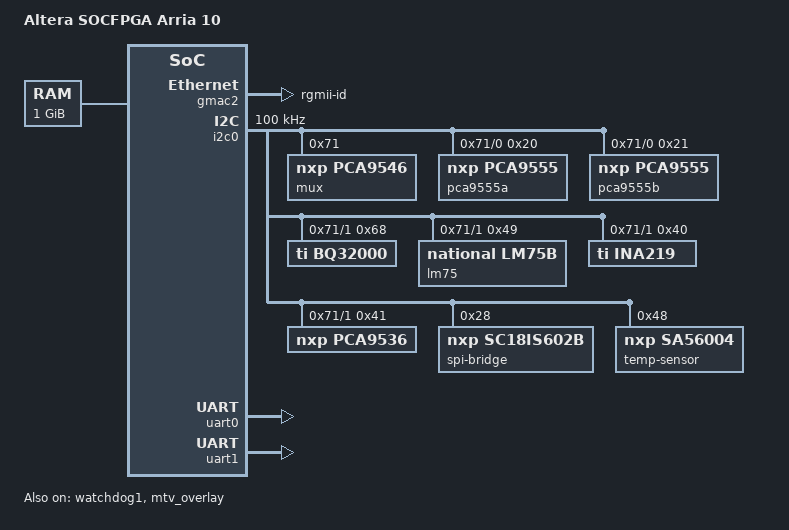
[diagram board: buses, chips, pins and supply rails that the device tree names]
// SPDX-License-Identifier: GPL-2.0+
/*
 * Copyright (C) 2015 Altera Corporation <www.altera.com>
 */
#include "socfpga_arria10.dtsi"

/ {
	model = "Altera SOCFPGA Arria 10";
	compatible = "altr,socfpga-arria10-socdk", "altr,socfpga-arria10", "altr,socfpga";

	aliases {
		ethernet0 = &gmac2;
		serial0 = &uart1;
	};

	chosen {
		bootargs = "earlyprintk";
		stdout-path = "serial0:115200n8";
	};

	memory@0 {
		name = "memory";
		device_type = "memory";
		reg = <0x0 0x40000000>; /* 1GB */
	};

	/*с этой версией dtsi ьщдуль благополучно загрузился на старте*/
	/* Резервируем блок строго непрерывной памяти под двойной буфер */
	
	reserved-memory {
		#address-cells = <1>;
		#size-cells = <1>;
		ranges;

		vmsgdma_cma_region: vmsgdma_cma@0 {
			compatible = "shared-dma-pool";
			reusable;
			size = <0x01000000>; /* ИСПРАВЛЕНО: Ровно 16 МБ под Double Buffering */
			alignment = <0x00001000>; /* Выравнивание по границе страницы (4КБ) */
		};
	};


		/* Обратите внимание: базовые #address-cells и #size-cells для корня 
	   уже определены внутри socfpga_arria10.dtsi, дублировать их тут не нужно */
	soc {
		clkmgr@ffd04000 {
			clocks {
				osc1 {
					clock-frequency = <25000000>;
				};
			};
		};

		/* ИСПРАВЛЕНО: адрес в имени узла переведен в нижний регистр */
		mtv_overlay: overlay@ff204a00 {
			compatible = "pfrt,overlay";
			reg = <0xFF204A00 0x0030>;
			memory-region = <&vmsgdma_cma_region>; /* Связка с CMA */
			status = "okay";
		};

		/*overlay@0xFF204A00 {
			compatible = "pfrt,overlay";
			reg = <0xFF204A00 0x0030>;
			interrupts = <0x0 0x28 0x4>;
		};*/

		strmem {
			compatible = "pfrt,str-mem";
				reg =   <0xFF200000 0x80>,  // REG_HDMI_OUT
				<0xFF200100 0x80>,   // REG_MOSAIC
				<0xFF200200 0x80>,   // REG_FRAMEBUFFER_0
				<0xFF200300 0x80>,   // REG_FRAMEBUFFER_1
				<0xFF200400 0x80>,   // REG_FRAMEBUFFER_2
				<0xFF200500 0x80>,   // REG_FRAMEBUFFER_3
				<0xFF200600 0x80>,   // REG_FRAMEBUFFER_4
				<0xFF200700 0x80>,   // REG_FRAMEBUFFER_5
				<0xFF200800 0x80>,   // REG_FRAMEBUFFER_6
				<0xFF200900 0x80>,   // REG_FRAMEBUFFER_7
				<0xFF200A00 0x80>,   // REG_FRAMEBUFFER_8
				<0xFF200B00 0x80>,   // REG_FRAMEBUFFER_9
				<0xFF200C00 0x80>,   // REG_FRAMEBUFFER_10
				<0xFF200D00 0x80>,   // REG_FRAMEBUFFER_11
				<0xFF200E00 0x80>,   // REG_FRAMEBUFFER_12
				<0xFF200F00 0x80>,   // REG_FRAMEBUFFER_13
				<0xFF201000 0x80>,   // REG_FRAMEBUFFER_14
				<0xFF201100 0x80>,   // REG_FRAMEBUFFER_15
				<0xFF201200 0x80>,   // REG_SDI_ADAPTER
				<0xFF201300 0x80>,   // REG_CVI_0
				<0xFF201400 0x80>,   // REG_SCALER_0
				<0xFF201500 0x80>,   // REG_CVI_1
				<0xFF201600 0x80>,   // REG_SCALER_1 
				<0xFF201700 0x80>,   // REG_CVI_2
				<0xFF201800 0x80>,   // REG_SCALER_2
				<0xFF201900 0x80>,   // REG_CVI_3
				<0xFF201A00 0x80>,   // REG_SCALER_3
				<0xFF201B00 0x80>,   // REG_CVI_4
				<0xFF201C00 0x80>,   // REG_SCALER_4
				<0xFF201D00 0x80>,   // REG_CVI_5
				<0xFF201E00 0x80>,   // REG_SCALER_5
				<0xFF201F00 0x80>,   // REG_CVI_6
				<0xFF202000 0x80>,   // REG_SCALER_6
				<0xFF202100 0x80>,   // REG_CVI_7
				<0xFF202200 0x80>,   // REG_SCALER_7
				<0xFF202300 0x80>,   // REG_CVI_7a
				<0xFF202400 0x80>,   // REG_SCALER_7a
				<0xFF202500 0x80>,   // REG_CVI_8
				<0xFF202600 0x80>,   // REG_SCALER_8
				<0xFF202700 0x80>,   // REG_CVI_9
				<0xFF202800 0x80>,   // REG_SCALER_9
				<0xFF202900 0x80>,   // REG_CVI_10
				<0xFF202A00 0x80>,   // REG_SCALER_10
				<0xFF202B00 0x80>,   // REG_CVI_11
				<0xFF202C00 0x80>,   // REG_SCALER_11
				<0xFF202D00 0x80>,   // REG_CVI_12
				<0xFF202E00 0x80>,   // REG_SCALER_12
				<0xFF202F00 0x80>,   // REG_CVI_13
				<0xFF203000 0x80>,   // REG_SCALER_13
				<0xFF203100 0x80>,   // REG_CVI_14
				<0xFF203200 0x80>,   // REG_SCALER_14
				<0xFF203300 0x80>,   // REG_CVI_15
				<0xFF203400 0x80>,   // REG_SCALER_15
				<0xFF203500 0x80>,   // REG_BUILDID
				<0xFF203600 0x80>,   // REG_BARS
				<0xFF203700 0x80>,   // REG_AUDIO_SELECTOR
				<0xFF203800 0x80>,   // REG_MOTION_0
				<0xFF203900 0x80>,   // REG_MOTION_1
				<0xFF203A00 0x80>,   // REG_MOTION_2
				<0xFF203B00 0x80>,   // REG_MOTION_3
				<0xFF203C00 0x80>,   // REG_MOTION_4
				<0xFF203D00 0x80>,   // REG_MOTION_5
				<0xFF203E00 0x80>,   // REG_MOTION_6
				<0xFF203F00 0x80>,   // REG_MOTION_7
				<0xFF204000 0x80>,   // REG_MOTION_8
				<0xFF204100 0x80>,   // REG_MOTION_9
				<0xFF204200 0x80>,   // REG_MOTION_10
				<0xFF204300 0x80>,   // REG_MOTION_11
				<0xFF204400 0x80>,   // REG_MOTION_12
				<0xFF204500 0x80>,   // REG_MOTION_13
				<0xFF204600 0x80>,   // REG_MOTION_14
				<0xFF204700 0x80>,   // REG_MOTION_15
				<0xFF204800 0x80>,   // REG_DEI
				<0xFF204900 0x80>   // REG_SDI_CVO		
				;		
		};
	};
};

&gmac2 {
	phy-mode = "rgmii-id";
	phy-addr = <0xffffffff>; /* probe for phy addr */	
	status = "okay";
};

&gpio1 {
	status = "okay";
};

/****************** описасние шины i2c0, идущей непосредственно от HPS ******************
	на ней находятся:
		коммутатор x4 pca9546 D21 (mux@71)
		преобразователь i2с->spi для общенис с микросхемой gs12170 (4K HDMI OUT) sc18is602b D43 (spi-bridge@28)
		контроллер HDMI SN75DP159 (управляем из приложения, здесь в списке нет)
		температурный сенсор SA56004 D16 (temp-sensor@48)

	каждое устройтсво в дереве имеет параметр reg, это непосредственно адрес конкретного устройства на шине
****************************************************************************************/
&i2c0 {
	status = "okay";
	/*
	 * adjust the falling times to decrease the i2c frequency to 50Khz
	 * because the LCD module does not work at the standard 100Khz
	 */
	clock-frequency = <100000>;
	i2c-sda-falling-time-ns = <6000>;
	i2c-scl-falling-time-ns = <6000>;

	/****************** коммутатор x4 pca9546 D21 mux@71 ******************/
	/*преключает i2c на одну из 4 шин. Каждая шина обозначается как i2c@num, 
	где num - номер шины*/
	mux@71 {
		compatible = "nxp,pca9546";
		reg = <0x71>;
		#address-cells = <1>;
		#size-cells = <0>;

		/****************** описание 1-й шины mux@71 ******************/
		i2c@0 {
			#address-cells = <1>;
			#size-cells = <0>;
			reg = <0>;

			/*********** gpio контроллер 1 на 16 пинов(на втором этаже) ***********/
			pca9555a: pca9555@20 {
				compatible = "nxp,pca9555";
				gpio-controller;
				#gpio-cells = <16>;
				reg = <0x20>;
			};

			/*********** gpio контроллер 2 на 16 пинов (на втором этаже) ***********/
			pca9555b: pca9555@21 {
				compatible = "nxp,pca9555";
				gpio-controller;
				#gpio-cells = <16>;
				reg = <0x21>;
			};
		};
		/****************** описание 2-й шины mux@71 ******************/
		i2c@1 {
			#address-cells = <1>;
			#size-cells = <0>;
			reg = <1>;

			/************** часы bq32000 D18 **************/
			bq32000: rtc@68 {
				compatible = "ti,bq32000";
				trickle-resistor-ohms = <1120>;
				reg = <0x68>;
			};

			/************** датчик температуры LM75 D22 **************/
			lm75@49 {
				reg = <0x49>;
				compatible = "national,lm75b";
			};

			/************** измеритель тока ina219 D68 **************/
			ina219@40 {
				compatible = "ti,ina219";
				reg = <0x40>;
				shunt-resistor = <55000>;
			};

			/*********** gpio контроллер 2 на 4 пина, похоже контроль вентляторов D75 ***********/
			pca9536: pca9536@41 {
				compatible = "nxp,pca9536";
				gpio-controller;
				#gpio-cells = <4>;
				reg = <0x41>;
			};
		};
		/****************** описание 3-й шины mux@71 ******************/
		/*на этой шине висит много sdi драйверов lmh0397/1297 и др. Будем работать
		с ними из нашего приложения*/
		i2c@2 {
			#address-cells = <1>;
			#size-cells = <0>;
			reg = <2>;
		};
		/****************** описание 4-й шины mux@71 ******************/
		i2c@3 {
			#address-cells = <1>;
			#size-cells = <0>;
			reg = <3>;
		};
	};

	/****************** преобразователь i2с->spi для общенис с микросхемой gs12170 (4K HDMI OUT) sc18is602b D43 (spi-bridge@28) ******************/
	spi-bridge@28 {
        compatible = "nxp,sc18is602b";
        reg = <0x28>;
        #address-cells = <1>;
        #size-cells = <0>;

		spi_dev@0 {
            compatible = "rohm,dh2228fv"; // или "linux,spidev"
            reg = <0>; // Chip Select 0
            spi-max-frequency = <1000000>;
        };

		spi_dev@1 {
            compatible = "rohm,dh2228fv"; // или "linux,spidev
            reg = <1>; // Chip Select 1
            spi-max-frequency = <1000000>;
        };
	};

	/****************** температурный сенсор SA56004 D16 (temp-sensor@48) ******************/
	temp-sensor@48 {
        compatible = "nxp,sa56004";
        reg = <0x48>;
    };
};

&uart0 {
	status = "okay";
};

&uart1 {
	status = "okay";
};

&watchdog1 {
	status = "okay";
};
